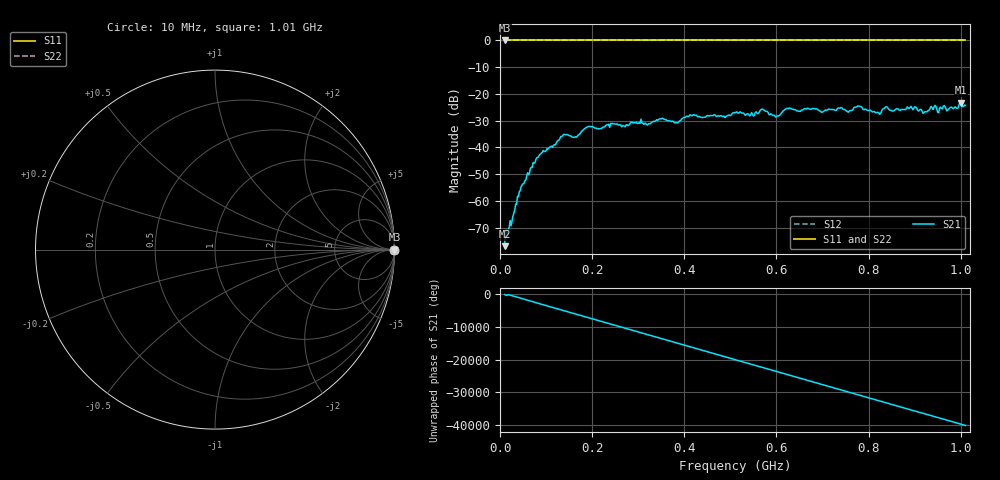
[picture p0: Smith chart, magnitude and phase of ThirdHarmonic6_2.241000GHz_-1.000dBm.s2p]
! 8/17/2025 2:37:33 AM
! C:\ANRITSUVNA\TEMP\TEMP.S2P
! CHANNEL.1
! TR.MEASUREMENT
! RAW.DATA
! RF.CORRECTION.OFF
! AVERAGING.OFF
! IF.BANDWIDTH: 5KHZ
! SWEEPTYPE:  FREQ.SWEEP(Linear)
! Reference Plane Port Info
! PORT:  PORT1  PORT2
! DISTANCE:  0  m  0  m
! TIME:  0  s  0  s
! PHASE.OFFSET:  0  deg.  0  deg.
! LOSS:  0  dB  0  dB
! REF.LOSS:  0  dB  0  dB
! REF.FREQ:  0  Hz  0  Hz
! Power Info
! POWER:  -20  dBm  -20  dBm
! EFF.POWER:  -20  dBm  -20  dBm
! SOURCE.ATTEN:  0  dB  0  dB
! TEST.ATTEN:  0  dB  0  dB
# GHZ S RI R 50.0
! FREQ.GHZ  S11RE  S11IM  S21RE  S21IM  S12RE  S12IM  S22RE  S22IM
!; PortSelection: Port_12
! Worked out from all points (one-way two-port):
!   501 points, 10 MHz to 1.01 GHz, reference 50 ohm
!   highest |S21| = -23.24 dB at 1 GHz (marker M1); lowest = -76.9 dB at 10 MHz (marker M2)
!   lowest |S11| = 0.0 dB at 10 MHz (marker M3)
!   |S11| at or under -10 dB: nowhere
!   |S22| runs from 0.0 to 0.0 dB; largest |S21 - S12| = 1.1
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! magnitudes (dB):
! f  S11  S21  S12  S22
! 10 MHz  0.0  -76.9  0.0  0.0
! 46 MHz  0.0  -54.6  0.0  0.0
! 82 MHz  0.0  -43.8  0.0  0.0
! 136 MHz  0.0  -35.6  0.0  0.0
! 162 MHz  0.0  -36.2  0.0  0.0
! 178 MHz  0.0  -33.8  0.0  0.0
! 344 MHz  0.0  -29.6  0.0  0.0
! 382 MHz  0.0  -30.7  0.0  0.0
! 416 MHz  0.0  -28.2  0.0  0.0
! 510 MHz  0.0  -27.0  0.0  0.0
! 546 MHz  0.0  -27.0  0.0  0.0
! 570 MHz  0.0  -25.7  0.0  0.0
! 602 MHz  0.0  -28.2  0.0  0.0
! 624 MHz  0.0  -25.4  0.0  0.0
! 678 MHz  0.0  -25.4  0.0  0.0
! 756 MHz  0.0  -26.8  0.0  0.0
! 780 MHz  0.0  -24.6  0.0  0.0
! 822 MHz  0.0  -27.2  0.0  0.0
! 844 MHz  0.0  -25.8  0.0  0.0
! 922 MHz  0.0  -26.7  0.0  0.0
! 1 GHz  0.0  -23.2  0.0  0.0
! 1.01 GHz  0.0  -24.3  0.0  0.0
